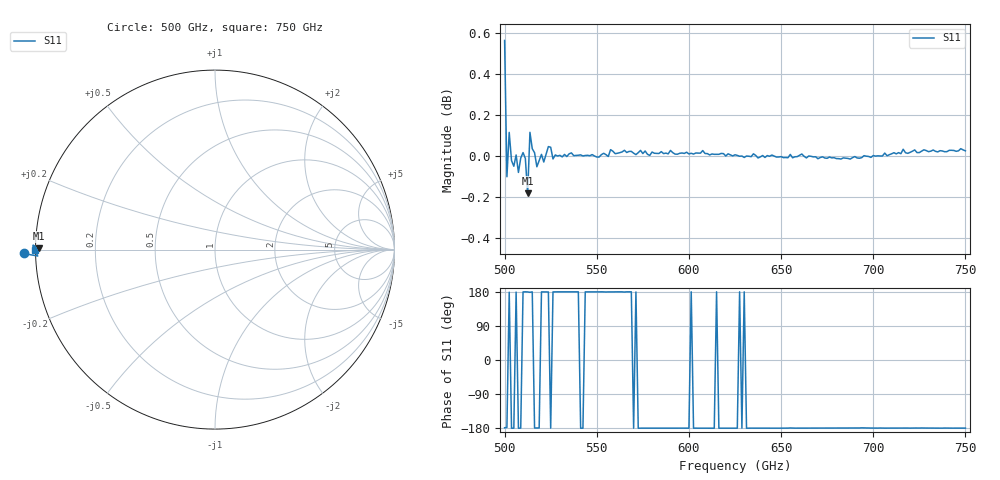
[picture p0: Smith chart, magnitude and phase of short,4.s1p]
!Created with mwavepy.
# GHz S RI R 50.0
!freq	ReS11	ImS11
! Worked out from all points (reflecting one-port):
!   201 points, 500 GHz to 750 GHz, reference 50 ohm
!   lowest |S11| = -0.2 dB at 512.5 GHz (marker M1), VSWR 96.02, Z = 0.521 + j0.162 ohm
!   phase of S11 starts at -179 deg and turns -1 deg over the sweep
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500  -1.067 -0.0216
! Port Impedance 50.00000000000000 0.00000000000000
501.25  -0.9878 -0.0358
502.5  -1.013 0.0205
503.75  -0.9974 -0.00132
506.25  -1 0.0146
507.5  -0.9909 -0.000459
508.75  -0.9989 -0.00582
510  -1.002 0.00568
512.5  -0.9794 0.00634
513.75  -1.013 0.0249
515  -1.004 0.00313
517.5  -0.9939 -0.0134
520  -1.001 0.00417
523.75  -1.005 0.00838
525  -1.005 -0.00289
531.25  -0.9995 0.00119
562.5  -1.002 0.00124
565  -1.003 0.0122
570  -1.002 -0.00155
571.25  -1.001 0.00852
573.75  -1.003 -0.00273
593.75  -1.001 -0.00281
625  -1.001 -0.000985
656.25  -0.999 -0.00656
687.5  -0.9983 -0.00443
693.75  -0.999 -0.0166
718.75  -1.001 -0.00737
750  -1.003 -0.00455
